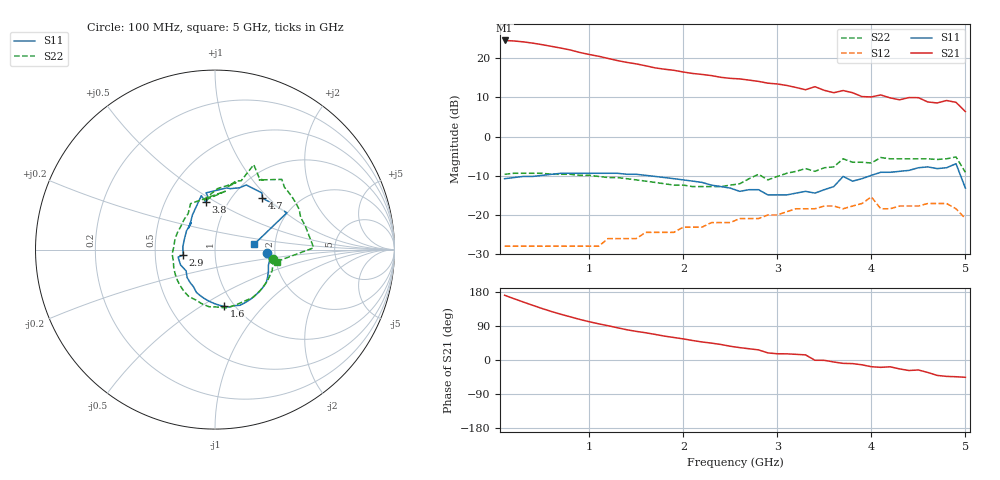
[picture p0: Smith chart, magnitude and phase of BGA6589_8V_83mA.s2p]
!BGA6589
!Scattering parameters
!Is=83mA Vs=8V
!Z0=50 Ohm
!Tamb 25C
#  MHz  S  MA  R 50
! Freq  S11  S21  S12  S22  :
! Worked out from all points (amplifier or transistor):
!   50 points, 100 MHz to 5 GHz, reference 50 ohm
!   highest |S21| = 24.5 dB at 100 MHz (marker M1)
!   |S21| within 3 dB of that: start of sweep to 888.9 MHz
!   unconditionally stable (mu >= 1): start of sweep to end of sweep
!   at 900 MHz: K = 1.11, MAG = 22.7 dB, |S12| = -28.0 dB
!   at 2.6 GHz: K = 1.15, MAG = 15.4 dB, |S12| = -20.9 dB
!   at 5 GHz: K = 2.26, MAG = 7.3 dB, |S12| = -20.9 dB
!   S11 on the Smith chart (normalised r, x): 100 MHz: 1.81, -0.07; 1.6 GHz: 0.90, -0.63; 2.9 GHz: 0.70, -0.04; 3.8 GHz: 0.79, +0.45; 4.7 GHz: 1.36, +0.92; 5 GHz: 1.55, +0.10
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100  0.29 -3.5  16.79 170.8  0.04 1.4  0.33 -9.3
300  0.31 -11.3  16.1 152.9  0.04 3.7  0.34 -31.2
500  0.32 -21.6  14.83 135.8  0.04 6.8  0.34 -51.7
700  0.34 -32.8  13.41 120.6  0.04 11.0  0.33 -70.8
800  0.34 -38.5  12.69 113.8  0.04 13.7  0.33 -79.6
1000  0.34 -49.9  11.12 101.0  0.04 18.0  0.32 -96.0
1400  0.33 -71.0  8.82 79.8  0.05 24.6  0.29 -126.3
1600  0.32 -81.0  7.98 71.8  0.06 27.6  0.27 -141.2
1800  0.3 -91.1  7.22 63.0  0.06 28.1  0.25 -157.0
2600  0.2 -143.6  5.43 32.7  0.09 24.3  0.25 126.7
2800  0.21 -168.4  5.05 26.7  0.09 24.1  0.33 80.0
2900  0.18 -170.2  4.79 18.7  0.1 19.9  0.28 102.8
3300  0.2 131.6  3.95 13.5  0.12 18.8  0.39 72.7
3400  0.19 140.8  4.32 -0.7  0.12 7.4  0.36 78.2
3600  0.23 123.2  3.62 -5.2  0.13 6.9  0.41 69.2
3800  0.27 100.9  3.62 -9.5  0.13 2.3  0.47 58.5
3900  0.29 97.1  3.23 -12.7  0.14 0.5  0.47 55.5
4200  0.35 75.9  3.11 -17.9  0.12 -10.3  0.52 41.9
4500  0.4 64.2  3.13 -26.3  0.13 -11.7  0.52 30.2
4700  0.39 47.3  2.68 -40.7  0.14 -16.3  0.51 20.7
4900  0.45 27.1  2.73 -44.2  0.12 -23.7  0.55 1.0
5000  0.22 7.8  2.08 -45.7  0.09 7.3  0.35 -10.9
